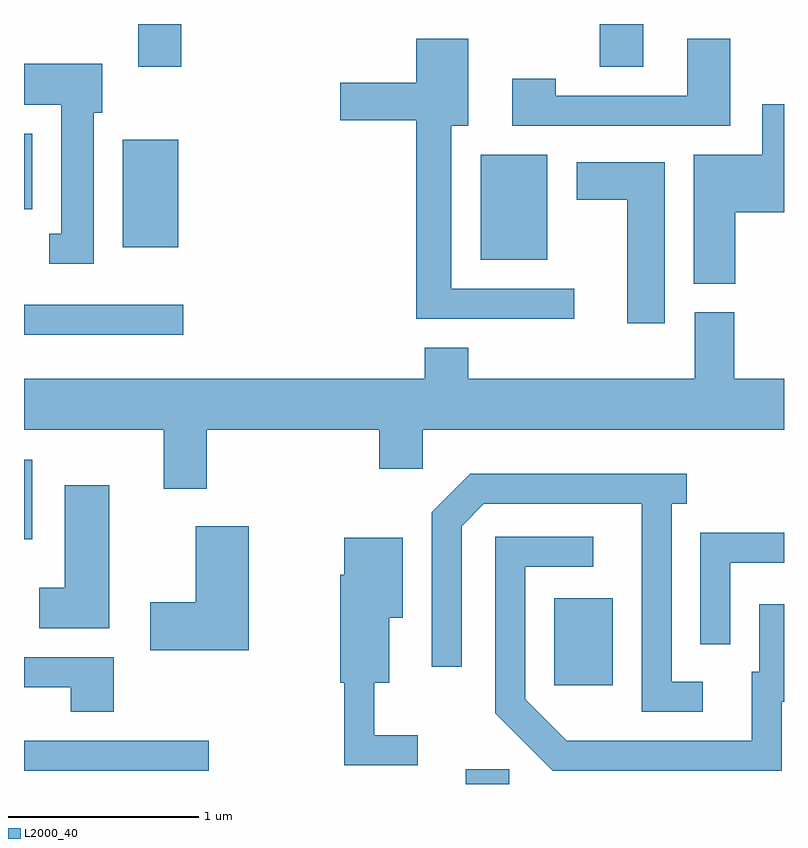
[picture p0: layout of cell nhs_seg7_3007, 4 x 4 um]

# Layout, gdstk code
import gdstk
lib = gdstk.Library(unit=1e-6, precision=1e-09)
def R(c, l, rs):  # rectangles x0, y0, x1, y1
    for r in rs: c.add(gdstk.rectangle(r[:2], r[2:], *l))
def P(c, l, *ps):  # polygons
    for p in ps: c.add(gdstk.Polygon(p, *l))
L2000_40 = (2000, 40)

nhs_seg7_3007 = lib.new_cell('nhs_seg7_3007')
R(nhs_seg7_3007, L2000_40, [(279.936,1690.252,280.164,1690.329), (277.611,1690.321,278.583,1690.479), (280.401,1690.771,280.709,1691.229), (277.611,1691.541,277.654,1691.959), (277.611,1692.616,278.448,1692.774), (280.016,1693.011,280.364,1693.564), (278.131,1693.076,278.424,1693.644), (277.611,1693.276,277.654,1693.674), (278.211,1694.026,278.439,1694.252), (280.641,1694.026,280.869,1694.252)])
P(nhs_seg7_3007, L2000_40, [(281.329,1694.174),(281.101,1694.174),(281.101,1693.874),(280.409,1693.874),(280.409,1693.964),(280.181,1693.964),(280.181,1693.716),(281.329,1693.716)],
  [(280.508,1692.859),(279.859,1692.859),(279.859,1693.716),(279.949,1693.716),(279.949,1694.174),(279.676,1694.174),(279.676,1693.944),(279.276,1693.944),(279.276,1693.746),(279.676,1693.746),(279.676,1692.701),(280.508,1692.701)],
  [(277.979,1693.786),(278.024,1693.786),(278.024,1694.044),(277.611,1694.044),(277.611,1693.826),(277.806,1693.826),(277.806,1693.149),(277.743,1693.149),(277.743,1692.991),(277.979,1692.991)],
  [(281.354,1693.261),(281.611,1693.261),(281.611,1693.829),(281.496,1693.829),(281.496,1693.564),(281.136,1693.564),(281.136,1692.886),(281.354,1692.886)],
  [(280.984,1693.524),(280.521,1693.524),(280.521,1693.326),(280.786,1693.326),(280.786,1692.676),(280.984,1692.676)],
  [(278.574,1692.116),(279.481,1692.116),(279.481,1691.911),(279.709,1691.911),(279.709,1692.116),(281.611,1692.116),(281.611,1692.384),(281.349,1692.384),(281.349,1692.734),(281.141,1692.734),(281.141,1692.384),(279.949,1692.384),(279.949,1692.549),(279.721,1692.549),(279.721,1692.384),(277.611,1692.384),(277.611,1692.116),(278.346,1692.116),(278.346,1691.806),(278.574,1691.806)],
  [(281.183,1690.789),(281.019,1690.789),(281.019,1691.726),(281.098,1691.726),(281.098,1691.884),(279.959,1691.884),(279.756,1691.682),(279.756,1690.868),(279.914,1690.868),(279.914,1691.609),(280.032,1691.726),(280.861,1691.726),(280.861,1690.631),(281.183,1690.631)],
  [(278.059,1691.824),(277.826,1691.824),(277.826,1691.284),(277.691,1691.284),(277.691,1691.071),(278.059,1691.071)],
  [(278.794,1691.609),(278.516,1691.609),(278.516,1691.209),(278.276,1691.209),(278.276,1690.956),(278.794,1690.956)],
  [(281.329,1691.416),(281.611,1691.416),(281.611,1691.574),(281.171,1691.574),(281.171,1690.988),(281.329,1690.988)],
  [(281.599,1690.686),(281.611,1690.686),(281.611,1691.199),(281.481,1691.199),(281.481,1690.844),(281.441,1690.844),(281.441,1690.479),(280.467,1690.479),(280.249,1690.697),(280.249,1691.396),(280.608,1691.396),(280.608,1691.554),(280.091,1691.554),(280.091,1690.624),(280.394,1690.321),(281.599,1690.321)],
  [(279.683,1690.509),(279.454,1690.509),(279.454,1690.786),(279.534,1690.786),(279.534,1691.126),(279.604,1691.126),(279.604,1691.549),(279.296,1691.549),(279.296,1691.354),(279.276,1691.354),(279.276,1690.786),(279.296,1690.786),(279.296,1690.351),(279.683,1690.351)],
  [(278.084,1690.919),(277.611,1690.919),(277.611,1690.761),(277.856,1690.761),(277.856,1690.631),(278.084,1690.631)])

lib.write_gds('nhs_seg7_3007.gds')
